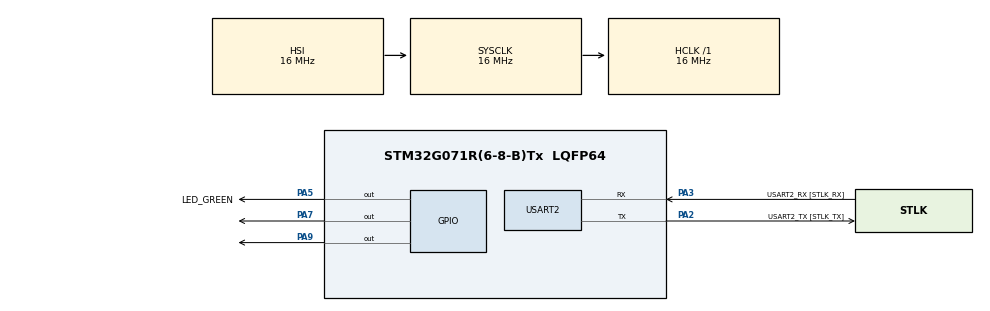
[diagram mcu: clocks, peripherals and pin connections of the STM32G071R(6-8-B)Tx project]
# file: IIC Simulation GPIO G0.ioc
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Mcu.Family=STM32G0
Mcu.Name=STM32G071R(6-8-B)Tx
Mcu.Package=LQFP64
PA13.GPIO_Label=TMS
PA13.Mode=Serial_Wire
PA13.Signal=SYS_SWDIO
PA14-BOOT0.GPIO_Label=TCK
PA14-BOOT0.Mode=Serial_Wire
PA14-BOOT0.Signal=SYS_SWCLK
PA2.GPIO_Label=USART2_TX [STLK_TX]
PA2.GPIO_PuPd=GPIO_PULLUP
PA2.Mode=Asynchronous
PA2.Signal=USART2_TX
PA3.GPIO_Label=USART2_RX [STLK_RX]
PA3.GPIO_PuPd=GPIO_PULLUP
PA3.Mode=Asynchronous
PA3.Signal=USART2_RX
PA5.GPIO_Label=LED_GREEN
PA5.GPIO_Speed=GPIO_SPEED_FREQ_HIGH
PA5.Signal=GPIO_Output
PA7.GPIO_Speed=GPIO_SPEED_FREQ_VERY_HIGH
PA7.Signal=GPIO_Output
PA9.GPIO_Speed=GPIO_SPEED_FREQ_VERY_HIGH
PA9.Signal=GPIO_Output
PC13.Mode=SYS_WakeUp1
PC13.Signal=SYS_WKUP2
PC14-OSC32_IN\ (PC14).Mode=LSE-External-Oscillator
PC14-OSC32_IN\ (PC14).Signal=RCC_OSC32_IN
PC15-OSC32_OUT\ (PC15).Mode=LSE-External-Oscillator
PC15-OSC32_OUT\ (PC15).Signal=RCC_OSC32_OUT
PF0-OSC_IN\ (PF0).GPIO_Label=MCO
PF0-OSC_IN\ (PF0).Mode=HSE-External-Clock-Source
PF0-OSC_IN\ (PF0).Signal=RCC_OSC_IN
ProjectManager.HeapSize=0x200
ProjectManager.StackSize=0x400
ProjectManager.TargetToolchain=STM32CubeIDE
RCC.AHBFreq_Value=16000000
RCC.CortexFreq_Value=16000000
RCC.EXTERNAL_CLOCK_VALUE=12288000
RCC.HCLKFreq_Value=16000000
RCC.HSE_VALUE=8000000
RCC.HSI_VALUE=16000000
RCC.SYSCLKFreq_VALUE=16000000
RCC.VCOOutputFreq_Value=128000000
USART2.VirtualMode-Asynchronous=VM_ASYNC
board=NUCLEO-G071RB

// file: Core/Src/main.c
/* USER CODE BEGIN Header */
/**
 ******************************************************************************
 * @file           : main.c
 * @brief          : Main program body
 ******************************************************************************
 * @attention
 *
 * Copyright (c) 2022 STMicroelectronics.
 * All rights reserved.
 *
 * This software is licensed under terms that can be found in the LICENSE file
 * in the root directory of this software component.
 * If no LICENSE file comes with this software, it is provided AS-IS.
 *
 ******************************************************************************
 */
/* USER CODE END Header */
#include "main.h"

/* USER CODE BEGIN Includes */
#include <stdio.h>
#include "IIC.h"
/* PIN's Assignment */

//	SCL | GPIOA9 | Nucleo Pin: D8
//	SCL | GPIOC7 | Nucleo Pin: D9

//8 bit address
#define I2C_ADDRESS	(0x68<<1)
/* USER CODE END Includes */

UART_HandleTypeDef huart2;

void SystemClock_Config(void);
static void MX_GPIO_Init(void);
static void MX_USART2_UART_Init(void);

int main(void) {

	/* MCU Configuration--------------------------------------------------------*/

	/* Reset of all peripherals, Initializes the Flash interface and the Systick. */
	HAL_Init();

	/* Configure the system clock */
	SystemClock_Config();

	/* Initialize all configured peripherals */
	MX_GPIO_Init();
	MX_USART2_UART_Init();
	/* USER CODE BEGIN 2 */
	//IIC_Init();
	printf("[i] Init I2C \n");

	uint8_t value = 0;
	IIC_Read_One_Byte(I2C_ADDRESS, 0x75, &value);
	if (value == 0x68) {
		printf(
				"Device found at address 0x%x with value of 0x%x in register 0x75.\n",
				I2C_ADDRESS, value);
	}
	/* USER CODE END 2 */

	/* Infinite loop */
	/* USER CODE BEGIN WHILE */
	while (1) {
		GPIOA->ODR ^= 1 << 5;
		HAL_Delay(500);
		/* USER CODE END WHILE */

	}
}

void SystemClock_Config(void) {
	RCC_OscInitTypeDef RCC_OscInitStruct = { 0 };
	RCC_ClkInitTypeDef RCC_ClkInitStruct = { 0 };

	/** Configure the main internal regulator output voltage
	 */
	HAL_PWREx_ControlVoltageScaling(PWR_REGULATOR_VOLTAGE_SCALE1);

	/** Initializes the RCC Oscillators according to the specified parameters
	 * in the RCC_OscInitTypeDef structure.
	 */
	RCC_OscInitStruct.OscillatorType = RCC_OSCILLATORTYPE_HSI;
	RCC_OscInitStruct.HSIState = RCC_HSI_ON;
	RCC_OscInitStruct.HSIDiv = RCC_HSI_DIV1;
	RCC_OscInitStruct.HSICalibrationValue = RCC_HSICALIBRATION_DEFAULT;
	RCC_OscInitStruct.PLL.PLLState = RCC_PLL_NONE;
	if (HAL_RCC_OscConfig(&RCC_OscInitStruct) != HAL_OK) {
		Error_Handler();
	}

	/** Initializes the CPU, AHB and APB buses clocks
	 */
	RCC_ClkInitStruct.ClockType = RCC_CLOCKTYPE_HCLK | RCC_CLOCKTYPE_SYSCLK
			| RCC_CLOCKTYPE_PCLK1;
	RCC_ClkInitStruct.SYSCLKSource = RCC_SYSCLKSOURCE_HSI;
	RCC_ClkInitStruct.AHBCLKDivider = RCC_SYSCLK_DIV1;
	RCC_ClkInitStruct.APB1CLKDivider = RCC_HCLK_DIV1;

	if (HAL_RCC_ClockConfig(&RCC_ClkInitStruct, FLASH_LATENCY_0) != HAL_OK) {
		Error_Handler();
	}
}

static void MX_USART2_UART_Init(void) {

	huart2.Instance = USART2;
	huart2.Init.BaudRate = 115200;
	huart2.Init.WordLength = UART_WORDLENGTH_8B;
	huart2.Init.StopBits = UART_STOPBITS_1;
	huart2.Init.Parity = UART_PARITY_NONE;
	huart2.Init.Mode = UART_MODE_TX_RX;
	huart2.Init.HwFlowCtl = UART_HWCONTROL_NONE;
	huart2.Init.OverSampling = UART_OVERSAMPLING_16;
	huart2.Init.OneBitSampling = UART_ONE_BIT_SAMPLE_DISABLE;
	huart2.Init.ClockPrescaler = UART_PRESCALER_DIV1;
	huart2.AdvancedInit.AdvFeatureInit = UART_ADVFEATURE_NO_INIT;
	if (HAL_UART_Init(&huart2) != HAL_OK) {
		Error_Handler();
	}
	if (HAL_UARTEx_SetTxFifoThreshold(&huart2, UART_TXFIFO_THRESHOLD_1_8)
			!= HAL_OK) {
		Error_Handler();
	}
	if (HAL_UARTEx_SetRxFifoThreshold(&huart2, UART_RXFIFO_THRESHOLD_1_8)
			!= HAL_OK) {
		Error_Handler();
	}
	if (HAL_UARTEx_DisableFifoMode(&huart2) != HAL_OK) {
		Error_Handler();
	}

}

static void MX_GPIO_Init(void) {
	GPIO_InitTypeDef GPIO_InitStruct = { 0 };

	/* GPIO Ports Clock Enable */
	__HAL_RCC_GPIOC_CLK_ENABLE();
	__HAL_RCC_GPIOF_CLK_ENABLE();
	__HAL_RCC_GPIOA_CLK_ENABLE();

	/*Configure GPIO pin Output Level */
	HAL_GPIO_WritePin(GPIOA, LED_GREEN_Pin | GPIO_PIN_7 | GPIO_PIN_9,
			GPIO_PIN_RESET);

	/*Configure GPIO pin : LED_GREEN_Pin */
	GPIO_InitStruct.Pin = LED_GREEN_Pin;
	GPIO_InitStruct.Mode = GPIO_MODE_OUTPUT_PP;
	GPIO_InitStruct.Pull = GPIO_NOPULL;
	GPIO_InitStruct.Speed = GPIO_SPEED_FREQ_HIGH;
	HAL_GPIO_Init(LED_GREEN_GPIO_Port, &GPIO_InitStruct);

	/*Configure GPIO pins : PA7 PA9 */
	GPIO_InitStruct.Pin = GPIO_PIN_7 | GPIO_PIN_9;
	GPIO_InitStruct.Mode = GPIO_MODE_OUTPUT_PP;
	GPIO_InitStruct.Pull = GPIO_NOPULL;
	GPIO_InitStruct.Speed = GPIO_SPEED_FREQ_VERY_HIGH;
	HAL_GPIO_Init(GPIOA, &GPIO_InitStruct);

}

/* USER CODE BEGIN 4 */
#ifdef __GNUC__
/* With GCC, small printf (option LD Linker->Libraries->Small printf
 set to 'Yes') calls __io_putchar() */
int __io_putchar(int ch)
#else
int fputc(int ch, FILE *f)
#endif /* __GNUC__ */
{
	/* Place your implementation of fputc here */
	/* e.g. write a character to the UART3 and Loop until the end of transmission */
	HAL_UART_Transmit(&huart2, (uint8_t*) &ch, 1, HAL_MAX_DELAY);

	return ch;
}

/* USER CODE END 4 */

void Error_Handler(void) {
	__disable_irq();
	while (1) {
	}
}
